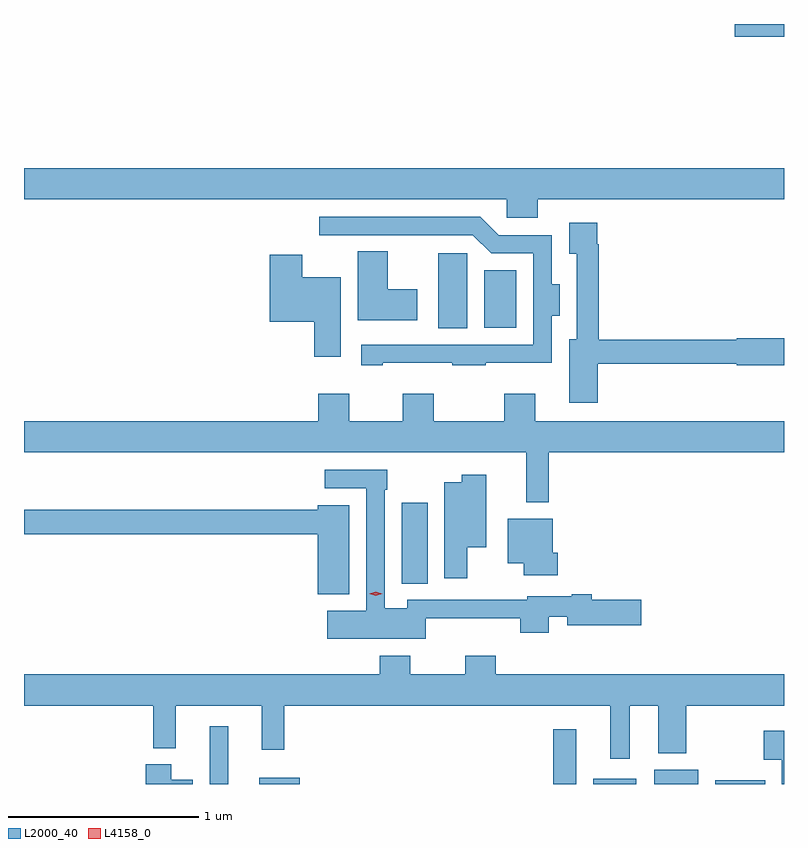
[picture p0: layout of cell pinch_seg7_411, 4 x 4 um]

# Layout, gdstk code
import gdstk
lib = gdstk.Library(unit=1e-6, precision=1e-09)
def R(c, l, rs):  # rectangles x0, y0, x1, y1
    for r in rs: c.add(gdstk.rectangle(r[:2], r[2:], *l))
def P(c, l, *ps):  # polygons
    for p in ps: c.add(gdstk.Polygon(p, *l))
L2000_40 = (2000, 40)
L4158_0 = (4158, 0)

pinch_seg7_411 = lib.new_cell('pinch_seg7_411')
R(pinch_seg7_411, L2000_40, [(520.881,1026.843,520.978,1027.147), (521.141,1026.843,521.356,1026.877), (522.69,1026.843,522.811,1027.132), (522.899,1026.843,523.126,1026.871), (523.22,1026.843,523.453,1026.919), (523.541,1026.843,523.804,1026.862), (521.891,1027.897,522.028,1028.323), (522.083,1029.241,522.238,1029.637), (522.326,1029.245,522.496,1029.547), (523.644,1030.775,523.904,1030.843)])
P(pinch_seg7_411, L2000_40, [(522.608,1029.92),(523.904,1029.92),(523.904,1030.084),(519.904,1030.084),(519.904,1029.92),(522.444,1029.92),(522.444,1029.822),(522.608,1029.822)],
  [(521.791,1029.059),(522.157,1029.059),(522.157,1029.048),(522.335,1029.048),(522.335,1029.059),(522.681,1029.059),(522.681,1029.308),(522.724,1029.308),(522.724,1029.472),(522.682,1029.472),(522.682,1029.732),(522.402,1029.732),(522.306,1029.828),(521.457,1029.828),(521.457,1029.732),(522.267,1029.732),(522.363,1029.636),(522.585,1029.636),(522.585,1029.156),(521.679,1029.156),(521.679,1029.048),(521.791,1029.048)],
  [(522.923,1029.054),(523.656,1029.054),(523.656,1029.046),(523.904,1029.046),(523.904,1029.188),(523.656,1029.188),(523.656,1029.182),(522.929,1029.182),(522.929,1029.683),(522.922,1029.683),(522.922,1029.796),(522.773,1029.796),(522.773,1029.635),(522.813,1029.635),(522.813,1029.184),(522.773,1029.184),(522.773,1028.85),(522.923,1028.85)],
  [(521.974,1029.448),(521.818,1029.448),(521.818,1029.647),(521.66,1029.647),(521.66,1029.284),(521.974,1029.284)],
  [(521.572,1029.511),(521.368,1029.511),(521.368,1029.628),(521.198,1029.628),(521.198,1029.275),(521.432,1029.275),(521.432,1029.093),(521.572,1029.093)],
  [(522.665,1028.588),(523.904,1028.588),(523.904,1028.752),(522.595,1028.752),(522.595,1028.896),(522.431,1028.896),(522.431,1028.752),(522.061,1028.752),(522.061,1028.896),(521.897,1028.896),(521.897,1028.752),(521.617,1028.752),(521.617,1028.896),(521.453,1028.896),(521.453,1028.752),(519.904,1028.752),(519.904,1028.588),(522.548,1028.588),(522.548,1028.325),(522.665,1028.325)],
  [(522.018,1027.715),(522.515,1027.715),(522.515,1027.64),(522.667,1027.64),(522.667,1027.722),(522.764,1027.722),(522.764,1027.679),(523.153,1027.679),(523.153,1027.814),(522.892,1027.814),(522.892,1027.843),(522.788,1027.843),(522.788,1027.83),(522.552,1027.83),(522.552,1027.814),(522.334,1027.814),(522.334,1027.812),(521.922,1027.812),(521.922,1027.768),(521.802,1027.768),(521.802,1028.393),(521.815,1028.393),(521.815,1028.496),(521.487,1028.496),(521.487,1028.4),(521.706,1028.4),(521.706,1027.756),(521.499,1027.756),(521.499,1027.607),(522.018,1027.607)],
  [(522.238,1028.09),(522.337,1028.09),(522.337,1028.47),(522.208,1028.47),(522.208,1028.431),(522.116,1028.431),(522.116,1027.926),(522.238,1027.926)],
  [(521.617,1028.311),(521.45,1028.311),(521.45,1028.287),(519.904,1028.287),(519.904,1028.158),(521.45,1028.158),(521.45,1027.841),(521.617,1027.841)],
  [(522.713,1028.061),(522.688,1028.061),(522.688,1028.239),(522.449,1028.239),(522.449,1028.006),(522.535,1028.006),(522.535,1027.943),(522.713,1027.943)],
  [(523.093,1027.256),(523.241,1027.256),(523.241,1027.004),(523.389,1027.004),(523.389,1027.256),(523.904,1027.256),(523.904,1027.42),(522.386,1027.42),(522.386,1027.519),(522.226,1027.519),(522.226,1027.42),(521.937,1027.42),(521.937,1027.519),(521.777,1027.519),(521.777,1027.42),(519.904,1027.42),(519.904,1027.256),(520.585,1027.256),(520.585,1027.031),(520.703,1027.031),(520.703,1027.256),(521.156,1027.256),(521.156,1027.023),(521.273,1027.023),(521.273,1027.256),(522.989,1027.256),(522.989,1026.975),(523.093,1026.975)],
  [(523.904,1027.123),(523.797,1027.123),(523.797,1026.971),(523.892,1026.971),(523.892,1026.843),(523.904,1026.843)],
  [(520.792,1026.865),(520.678,1026.865),(520.678,1026.946),(520.544,1026.946),(520.544,1026.843),(520.792,1026.843)])
P(pinch_seg7_411, L4158_0, [(521.755,1027.834),(521.72,1027.844),(521.72,1027.844),(521.72,1027.844),(521.755,1027.854),(521.79,1027.844),(521.79,1027.844),(521.79,1027.844)])

lib.write_gds('pinch_seg7_411.gds')
